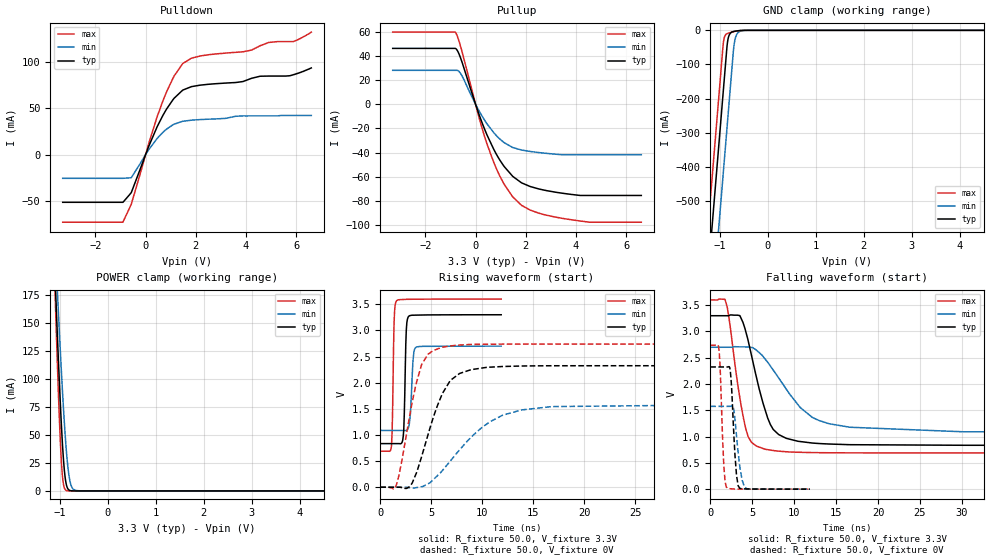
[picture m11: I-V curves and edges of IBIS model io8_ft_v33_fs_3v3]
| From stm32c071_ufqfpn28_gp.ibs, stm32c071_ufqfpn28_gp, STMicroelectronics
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[Model]   io8_ft_v33_fs_3v3
Model_type I/O
Polarity   Non-Inverting
Enable   Active-Low
| CAP_THRESHOLD on pad IOFT is "UDTCAPC" :
| Rising=30.0% of vddiom   Falling=70.0% of vddiom
| C_comp min and max val. don't necessarily correlate with the min and max pvt
| but are the smallest and greatest pad capacitance found.
| var   typ   min   max
C_comp   2.01850pF  1.96642pF  2.04086pF
|C_comp_pullup   1.18463pF  1.18747pF  1.15742pF
|C_comp_pulldown   833.86595fF  778.94685fF  883.43590fF
Vinl = 1.35V
Vinh = 1.8V
Vmeas = 1.65V   | Reference voltage for timing measurements
Cref  = 50.0pF   | Timing specification test load capacitance value
Rref  = 1.0MOhm   | Timing specification test load resistance value
Vref  = 1.815V   | Timing specification test load voltage
[Model Spec]
| TIME_THRESHOLD on pin ZIV33M is "CMOS" :
| Rising=50.0% of vddiom   Falling=50.0% of vddiom
Vinl 1.34770V 1.11370V 1.44970V
Vinh 1.77530V 1.49530V 1.90330V
| variable   typ   min   max
[Temperature Range] 25.0 125.0 -40.0
| variable   typ   min   max
[Voltage Range] 3.3V 2.7V 3.6V
| variable   typ   min   max
[POWER Clamp Reference] 3.3V 2.7V 3.6V
| variable   typ   min   max
[GND Clamp Reference] 0V 0V 0V
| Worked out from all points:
|   slope of the pulldown table from 0 to 0.495 V, typ, clamps not added: 15.4 ohm
|   slope of the pullup table from 0 to 0.495 V, typ, clamps not added: 18.2 ohm
|   GND clamp passes 1 mA (typ) near -0.60 V on its own axis
|   POWER clamp passes 1 mA (typ) near -0.81 V on its own axis
|   rising waveform, R_fixture 50.0, V_fixture 3.3V: 20-80 % time 172ps typ, 240ps min, 152ps max; typ from 0.835 V to 3.3 V
|   falling waveform, R_fixture 50.0, V_fixture 3.3V: 20-80 % time 2.37ns typ, 4.81ns min, 1.63ns max; typ from 3.3 V to 0.835 V
|   rising waveform, R_fixture 50.0, V_fixture 0V: 20-80 % time 2.44ns typ, 4.75ns min, 1.67ns max; typ from 0 V to 2.33 V
|   falling waveform, R_fixture 50.0, V_fixture 0V: 20-80 % time 466ps typ, 651ps min, 381ps max; typ from 2.33 V to 0 V
[POWER Clamp]
-3.3V     2.991A     2.543A     3.694A
-1.1V     191.1mA    222.7mA    177.1mA
-1.08V    169mA      204.2mA    149.9mA
-1.05V    136.9mA    176.9mA    110.9mA
-1.01V    96.55mA    141.6mA    64.02mA
-970mV    60.39mA    108.2mA    27.41mA
-930mV    31.08mA    77.43mA    7.282mA
-900mV    15.67mA    56.69mA    2.025mA
-860mV    4.779mA    33.42mA    315.2uA
-780mV    272.1uA    6.953mA    6.98uA
-670mV    4.467uA    374.2uA    36.58nA
6.6V      0A         0A         0A
[GND Clamp]
-3.3V     -4.209A    -4.449A    -4.067A
-1.25V    -724.3mA   -963.9mA   -582.3mA
-940mV    -197.3mA   -436.9mA   -55.31mA
-900mV    -129.3mA   -368.9mA   -18.05mA
-850mV    -45.25mA   -283.9mA   -9.777mA
-830mV    -25.62mA   -249.8mA   -8.529mA
-790mV    -10.15mA   -181.9mA   -6.665mA
-720mV    -3.762mA   -62.85mA   -4.025mA
-700mV    -3.047mA   -38.71mA   -3.371mA
-650mV    -1.786mA   -12.52mA   -1.967mA
-550mV    -403.5uA   -1.578mA   -350.4uA
6.6V      932.9pA    92.35nA    684.5pA
| variable   typ   min   max
[Pullup Reference] 3.3V 2.7V 3.6V
| variable   typ   min   max
[Pulldown Reference] 0V 0V 0V
[Pullup]
-3.3V     46.29mA    28.13mA    59.79mA
-800mV    46.22mA    28.13mA    59.47mA
-700mV    43.48mA    27.89mA    54.81mA
-560mV    36.14mA    24.25mA    45.14mA
270mV     -15.88mA   -10.16mA   -20.62mA
730mV     -37.54mA   -23.64mA   -48.39mA
1.14V     -51.54mA   -31.73mA   -66.22mA
1.48V     -59.67mA   -35.78mA   -76.65mA
1.83V     -65.01mA   -37.85mA   -83.65mA
2.51V     -70.03mA   -39.93mA   -90.06mA
3.88V     -74.77mA   -41.71mA   -95.78mA
6.6V      -75.45mA   -41.71mA   -97.6mA
[Pulldown]
-3.3V     -51.64mA   -25.66mA   -73.18mA
-900mV    -51.64mA   -25.66mA   -73.04mA
-570mV    -41.2mA    -25.04mA   -53.78mA
120mV     8.582mA    5.119mA    11.54mA
690mV     42.49mA    24.14mA    58.21mA
1.09V     59.44mA    32.3mA     82.71mA
1.48V     69.88mA    36.14mA    98.63mA
2.17V     75.22mA    37.94mA    106.8mA
3.88V     79.15mA    41.94mA    111.3mA
4.9V      85.07mA    41.94mA    121.4mA
5.88V     86.5mA     42.4mA     122.4mA
6.6V      93.9mA     42.4mA     132.7mA
[Ramp]
dV/dt_r 1.39496V/2.43522ns 945.15276mV/4.75107ns 1.64288V/1.67304ns
dV/dt_f 1.47881V/2.36804ns 968.12958mV/4.81227ns 1.74582V/1.62586ns
R_load = 50.0
| Removed startup time: 0s 0s 0s  .
| Removed end time: 11.85ns.
[Rising Waveform]
R_fixture   = 50.0
V_fixture   = 3.3V
V_fixture_min = 2.7V
V_fixture_max = 3.6V
0s        834.9mV    1.087V     689.8mV
1.1ns     834.9mV    1.087V     795.7mV
1.2ns     834.9mV    1.087V     1.386V
1.35ns    834.9mV    1.087V     3.137V
1.6ns     834.9mV    1.087V     3.569V
2.25ns    977.4mV    1.086V     3.592V
2.55ns    3.008V     1.086V     3.595V
2.75ns    3.262V     1.134V     3.595V
3.45ns    3.292V     2.669V     3.597V
11.85ns   3.3V       2.699V     3.6V
| Removed startup time: 0s 0s 0s  .
| Removed end time: 149.875ns.
[Falling Waveform]
R_fixture   = 50.0
V_fixture   = 3.3V
V_fixture_min = 2.7V
V_fixture_max = 3.6V
0s        3.3V       2.7V       3.6V
1.775ns   3.3V       2.7V       3.6V
3.525ns   3.302V     2.707V     1.741V
4.225ns   3.002V     2.706V     1.152V
4.925ns   2.536V     2.696V     890.4mV
6.3ns     1.63V      2.523V     773.1mV
7.525ns   1.133V     2.261V     734.4mV
12.15ns   877.9mV    1.367V     695.7mV
16.65ns   846mV      1.178V     690.5mV
149.9ns   835.3mV    1.086V     690.3mV
| Removed startup time: 0s 0s 0s  .
| Removed end time: 149.85ns.
[Rising Waveform]
R_fixture   = 50.0
V_fixture   = 0V
V_fixture_min = 0V
V_fixture_max = 0V
0s        369.9nV    466.3nV    1.396uV
1.6ns     -2.338uV   8.179uV    59.12mV
2.9ns     21.11mV    -9.619mV   1.388V
4.05ns    584.3mV    9.998mV    2.345V
4.7ns     1.019V     67.58mV    2.548V
6.05ns    1.776V     310.3mV    2.678V
7.45ns    2.129V     641.1mV    2.718V
11.95ns   2.309V     1.374V     2.738V
16.8ns    2.324V     1.543V     2.739V
149.9ns   2.325V     1.575V     2.738V
| Removed startup time: 0s 0s 0s  .
| Removed end time: 11.875ns.
[Falling Waveform]
R_fixture   = 50.0
V_fixture   = 0V
V_fixture_min = 0V
V_fixture_max = 0V
0s        2.325V     1.575V     2.739V
1.025ns   2.325V     1.575V     2.669V
1.6ns     2.325V     1.575V     499.3mV
1.9ns     2.325V     1.575V     45.56mV
2.4ns     2.231V     1.576V     7.802mV
2.775ns   1.151V     1.533V     4.016mV
3.125ns   270.7mV    1.019V     2.532mV
3.525ns   14.64mV    423.6mV    1.266mV
4.425ns   4.235mV    4.116mV    1.158mV
11.88ns   112.1uV    431.2uV    -173.4uV
